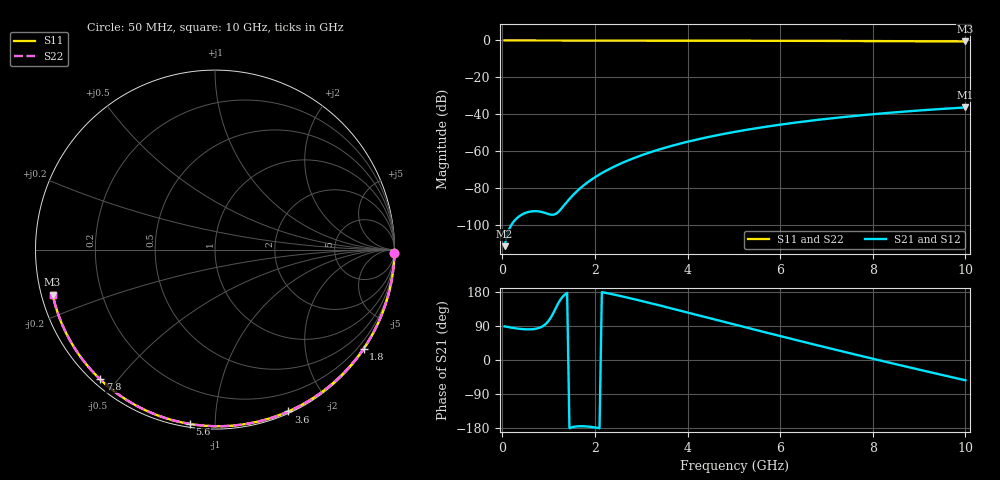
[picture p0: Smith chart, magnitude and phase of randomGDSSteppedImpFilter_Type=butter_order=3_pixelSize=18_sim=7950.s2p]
! freq	dB(S11)	phase(S11)	dB(S12)	phase(S12)
!  dB(S21)	phase(S21)	dB(S22)	phase(S22)
!S-par simulation data
#  GHz  S  DB  R 50
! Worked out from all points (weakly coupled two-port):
!   200 points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, 50 MHz to 10 GHz, reference 50 ohm
!   highest |S21| = -36.41 dB at 10 GHz (marker M1); lowest = -111.7 dB at 50 MHz (marker M2)
!   lowest |S11| = -0.5 dB at 10 GHz (marker M3), VSWR 31.66, Z = 1.61 - j6.79 ohm
!   |S11| at or under -10 dB: nowhere
!   |S22| runs from -0.5 to 0.0 dB; largest |S21 - S12| = 0
!   S11 on the Smith chart (normalised r, x): 50 MHz: open; 1.8 GHz: 0.03, -3.30; 3.6 GHz: 0.02, -1.55; 5.6 GHz: 0.02, -0.87; 7.8 GHz: 0.02, -0.45; 10 GHz: 0.03, -0.14
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0.05  -0.00 -1.0  -111.75 88.8  -111.75 88.8  -0.00 -1.0
0.45  -0.01 -8.6  -94.23 81.4  -94.23 81.4  -0.01 -8.6
0.85  -0.02 -16.1  -93.17 87.6  -93.17 87.6  -0.02 -16.1
1.65  -0.04 -31.0  -81.00 -174.8  -81.00 -174.8  -0.04 -31.0
1.7  -0.04 -31.9  -79.90 -174.7  -79.90 -174.7  -0.04 -31.9
1.75  -0.04 -32.8  -78.86 -174.8  -78.86 -174.8  -0.04 -32.8
1.8  -0.04 -33.7  -77.86 -175.1  -77.86 -175.1  -0.04 -33.7
2.1  -0.05 -39.2  -72.77 -179.9  -72.77 -179.9  -0.05 -39.2
2.3  -0.05 -42.8  -69.98 175.5  -69.98 175.5  -0.05 -42.8
2.5  -0.06 -46.4  -67.52 170.3  -67.52 170.3  -0.06 -46.4
2.9  -0.07 -53.5  -63.35 159.0  -63.35 159.0  -0.07 -53.5
3.4  -0.08 -62.2  -59.12 143.9  -59.12 143.9  -0.08 -62.2
3.6  -0.09 -65.6  -57.66 137.7  -57.66 137.7  -0.09 -65.6
4.3  -0.11 -77.4  -53.27 115.9  -53.27 115.9  -0.11 -77.4
5.05  -0.14 -89.5  -49.52 92.5  -49.52 92.5  -0.14 -89.5
5.6  -0.16 -98.2  -47.22 75.5  -47.22 75.5  -0.16 -98.2
6.15  -0.19 -106.7  -45.22 58.6  -45.22 58.6  -0.19 -106.7
6.7  -0.22 -115.1  -43.46 41.9  -43.46 41.9  -0.22 -115.1
7.8  -0.31 -131.5  -40.54 9.2  -40.54 9.2  -0.31 -131.5
8.35  -0.36 -139.7  -39.31 -6.8  -39.31 -6.8  -0.36 -139.7
9.2  -0.45 -152.3  -37.68 -31.1  -37.68 -31.1  -0.45 -152.3
10  -0.55 -164.5  -36.41 -53.5  -36.41 -53.5  -0.55 -164.5
